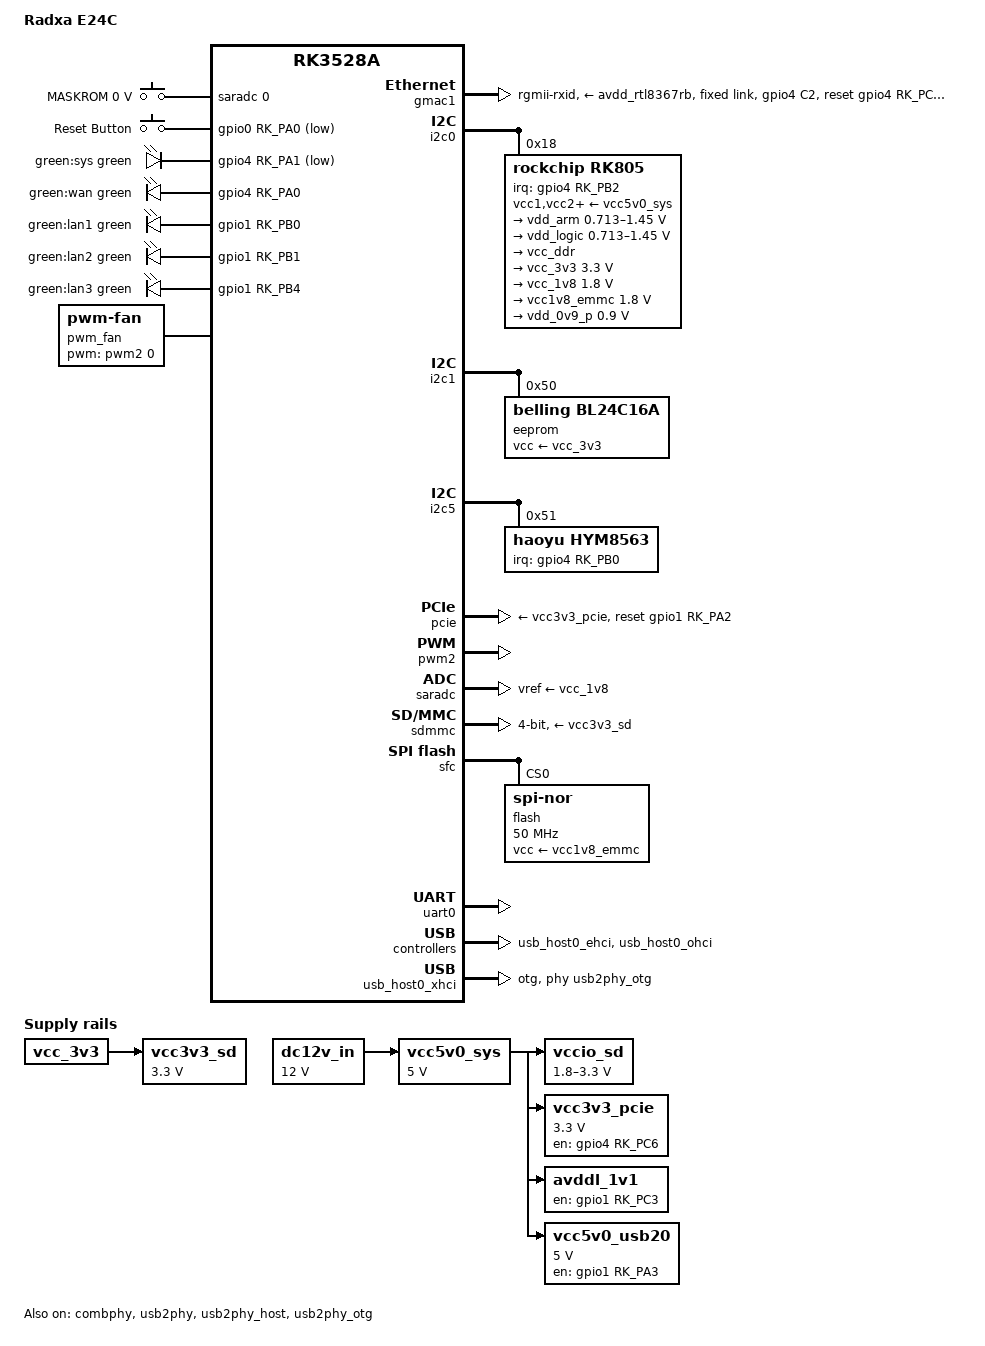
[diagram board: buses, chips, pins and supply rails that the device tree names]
// SPDX-License-Identifier: (GPL-2.0+ OR MIT)
/*
 * Copyright (c) 2022 Rockchip Electronics Co., Ltd.
 * Copyright (c) 2024 Radxa Computer (Shenzhen) Co., Ltd.
 * Copyright (c) 2025 Flippy <flippy@sina.com>
 */

/dts-v1/;

#include <dt-bindings/input/input.h>
#include <dt-bindings/leds/common.h>
#include <dt-bindings/pwm/pwm.h>
#include "rk3528.dtsi"

/ {
	model = "Radxa E24C";
	compatible = "radxa,e24c", "rockchip,rk3528a";

	aliases {
		ethernet0 = &gmac1;
		mmc0 = &sdmmc;
		mmc1 = &sdhci;
		mmc2 = &sdio0;
		rtc0 = &hym8563;
		rtc99 = &rk805;
	};

	adc-keys {
		compatible = "adc-keys";
		io-channels = <&saradc 0>;
		io-channel-names = "buttons";
		keyup-threshold-microvolt = <1800000>;
		poll-interval = <100>;

		button-maskrom {
			label = "MASKROM";
			linux,code = <KEY_SETUP>;
			press-threshold-microvolt = <0>;
		};
	};

	chosen: chosen {
		bootargs = "earlycon=uart8250,mmio32,0xff9f0000 console=ttyS0:1500000";
	};

	gpio_keys: gpio-keys {
		compatible = "gpio-keys";
		pinctrl-names = "default";
		pinctrl-0 = <&key_user>;
		autorepeat;

		button-user {
			label = "Reset Button";
			linux,code = <KEY_RESTART>;
			gpios = <&gpio0 RK_PA0 GPIO_ACTIVE_LOW>;
			debounce-interval = <100>;
		};
	};

	gpio_leds: gpio-leds {
		compatible = "gpio-leds";

		led-sys {
			color = <LED_COLOR_ID_GREEN>;
			default-state = "on";
			function = LED_FUNCTION_HEARTBEAT;
			gpios = <&gpio4 RK_PA1 GPIO_ACTIVE_LOW>;
			label = "green:sys";
			linux,default-trigger = "heartbeat";
			pinctrl-names = "default";
			pinctrl-0 = <&sys_led_g>;
		};

		led-wan {
			color = <LED_COLOR_ID_GREEN>;
			default-state = "off";	
			function = LED_FUNCTION_WAN;
			gpios = <&gpio4 RK_PA0 GPIO_ACTIVE_HIGH>;
			label = "green:wan";
			linux,default-trigger = "netdev";
			pinctrl-names = "default";
			pinctrl-0 = <&wan_led_g>;
		};

		led-lan1 {
			color = <LED_COLOR_ID_GREEN>;
			default-state = "off";	
			function = LED_FUNCTION_LAN;
			gpios = <&gpio1 RK_PB0 GPIO_ACTIVE_HIGH>;
			label = "green:lan1";
			linux,default-trigger = "netdev";
			pinctrl-names = "default";
			pinctrl-0 = <&lan1_led_g>;
		};

		led-lan2 {
			color = <LED_COLOR_ID_GREEN>;
			default-state = "off";	
			function = LED_FUNCTION_LAN;
			gpios = <&gpio1 RK_PB1 GPIO_ACTIVE_HIGH>;
			label = "green:lan2";
			linux,default-trigger = "netdev";
			pinctrl-names = "default";
			pinctrl-0 = <&lan2_led_g>;
		};

		led-lan3 {
			color = <LED_COLOR_ID_GREEN>;
			default-state = "off";	
			function = LED_FUNCTION_LAN;
			gpios = <&gpio1 RK_PB4 GPIO_ACTIVE_HIGH>;
			label = "green:lan3";
			linux,default-trigger = "netdev";
			pinctrl-names = "default";
			pinctrl-0 = <&lan3_led_g>;
		};
	};

	reserved_memory: reserved-memory {
		#address-cells = <2>;
		#size-cells = <2>;
		ranges;

		ramoops: ramoops@110000 {
			compatible = "ramoops";
			/* 0x110000 to 0x1f0000 is for ramoops */
			reg = <0x0 0x110000 0x0 0xe0000>;
			boot-log-size = <0x8000>;	/* do not change */
			boot-log-count = <0x1>;		/* do not change */
			console-size = <0x80000>;
			pmsg-size = <0x30000>;
			ftrace-size = <0x00000>;
			record-size = <0x14000>;
		};
	};

	dc12v_in: regulator-12v-dcin {
		compatible = "regulator-fixed";
		regulator-name = "dc12v-in";
		regulator-always-on;
		regulator-boot-on;
		regulator-min-microvolt = <12000000>;
		regulator-max-microvolt = <12000000>;
	};

	vcc5v0_sys: regulator-5v0-vcc-sys {
		compatible = "regulator-fixed";
		regulator-name = "vcc5v0_sys";
		regulator-always-on;
		regulator-boot-on;
		regulator-min-microvolt = <5000000>;
		regulator-max-microvolt = <5000000>;
		vin-supply = <&dc12v_in>;
	};

	vccio_sd: regulator-vccio-sd {
		compatible = "regulator-gpio";
		gpios = <&gpio4 RK_PB6 GPIO_ACTIVE_HIGH>;
		pinctrl-names = "default";
		pinctrl-0 = <&sdmmc_vol_ctrl_h>;
		regulator-min-microvolt = <1800000>;
		regulator-max-microvolt = <3300000>;
		regulator-name = "vccio_sd";
		states = <1800000 0x0>, <3300000 0x1>;
		vin-supply = <&vcc5v0_sys>;
	};

	vcc3v3_sd: regulator-3v3-vcc-sd {
		compatible = "regulator-fixed";
		regulator-name = "vcc3v3_sd";
		regulator-min-microvolt = <3300000>;
		regulator-max-microvolt = <3300000>;
		vin-supply = <&vcc_3v3>;
	};

	vcc3v3_pcie: regulator-3v3-vcc-pcie {
		compatible = "regulator-fixed";
		enable-active-high;
		gpios = <&gpio4 RK_PC6 GPIO_ACTIVE_HIGH>;
		pinctrl-names = "default";
		pinctrl-0 = <&vcc3v3_pcie_en>;
		regulator-min-microvolt = <3300000>;
		regulator-max-microvolt = <3300000>;
		regulator-name = "vcc3v3_pcie";
		startup-delay-us = <5000>;
		vin-supply = <&vcc5v0_sys>;
	};

	/*
	 * DC-DC: SY8088AAC(3v3) + SY8088AAC(1v1), max 1A
	 * input: vcc_5v0
	 * output: 3v3 to RTL8367RB AVDDH, 1v1 to RTL8367RB AVDDL
	 * enabled by GPIO1_C3
	 */
	avddl_1v1: avddh_3v3: avdd_rtl8367rb: regulator-avdd-rtl8367rb {
		compatible = "regulator-fixed";
		enable-active-high;
		gpios = <&gpio1 RK_PC3 GPIO_ACTIVE_HIGH>;
		pinctrl-names = "default";
		pinctrl-0 = <&rtl8367rb_power_en>;
		regulator-name = "avdd_rtl8367rb";
		startup-delay-us = <10000>;
		vin-supply = <&vcc5v0_sys>;
	};

	vcc5v0_usb20: regulator-5v0-vcc-usb20 {
		compatible = "regulator-fixed";
		enable-active-high;
		gpios = <&gpio1 RK_PA3 GPIO_ACTIVE_HIGH>;
		pinctrl-names = "default";
		pinctrl-0 = <&vcc5v0_usb20_en>;
		regulator-always-on;
		regulator-boot-on;
		regulator-name = "vcc5v0_usb20";
		regulator-min-microvolt = <5000000>;
		regulator-max-microvolt = <5000000>;
		vin-supply = <&vcc5v0_sys>;
	};

	pwm_fan: pwm-fan {
		compatible = "pwm-fan";
		#cooling-cells = <2>;
		cooling-min-state = <0>;
		cooling-max-state = <4>;
		cooling-levels = <0 64 128 192 255>;
		pwms = <&pwm2 0 40000 0>;
	};

	/* RTL8367RB-VB (num:6367 ver:0020) */
	switch0: switch0 {
		compatible = "realtek,rtl8367b";
		realtek,extif = <6 1 0 1 1 1 1 1 1 2>;
		mii-bus = <&mdio1>;
		phy-id = <29>;
	};
};

&combphy {
	status = "okay";
};

&cpu0 {
	cpu-supply = <&vdd_arm>;
};

&cpu1 {
	cpu-supply = <&vdd_arm>;
};

&cpu2 {
	cpu-supply = <&vdd_arm>;
};

&cpu3 {
	cpu-supply = <&vdd_arm>;
};

&gmac1 {
	/delete-property/ snps,tso;

	clock_in_out = "output";
	label = "eth0";
	phy-mode = "rgmii-rxid";
	phy-supply = <&avdd_rtl8367rb>;

	pinctrl-names = "default";
	pinctrl-0 = <&rgmii_miim>, <&rgmii_tx_bus2>, <&rgmii_rx_bus2>,
		    <&rgmii_rgmii_clk>, <&rgmii_rgmii_bus>, <&gmac1_rstn_l>;

	tx_delay = <0x3f>;
	rx_delay = <0x10>;

	snps,reset-active-low;
	/* Reset time is 25ms, 100ms for rtl8367rb */
	snps,reset-delays-us = <0 25000 100000>;
	snps,reset-gpio = <&gpio4 RK_PC2 GPIO_ACTIVE_LOW>;

	status = "okay";

	fixed-link {
		speed = <1000>;
		full-duplex;
		pause;
	};
};

/* PMIC */
&i2c0 {
	pinctrl-names = "default";
	pinctrl-0 = <&i2c0m0_xfer>;
	status = "okay";

	rk805: pmic@18 {
		compatible = "rockchip,rk805";
		reg = <0x18>;
		interrupt-parent = <&gpio4>;
		interrupts = <RK_PB2 IRQ_TYPE_LEVEL_LOW>;
		#clock-cells = <1>;
		clock-output-names = "rk805-clkout1", "rk805-clkout2";
		gpio-controller;
		#gpio-cells = <2>;
		pinctrl-names = "default";
		pinctrl-0 = <&pmic_int_l>;
		system-power-controller;
		wakeup-source;

		vcc1-supply = <&vcc5v0_sys>;
		vcc2-supply = <&vcc5v0_sys>;
		vcc3-supply = <&vcc5v0_sys>;
		vcc4-supply = <&vcc5v0_sys>;
		vcc5-supply = <&vcc5v0_sys>;
		vcc6-supply = <&vcc5v0_sys>;

		regulators {
			vdd_arm: DCDC_REG1 {
				regulator-name = "vdd_arm";
				regulator-always-on;
				regulator-boot-on;
				regulator-min-microvolt = <712500>;
				regulator-max-microvolt = <1450000>;
				regulator-ramp-delay = <12500>;

				regulator-state-mem {
					regulator-on-in-suspend;
				};
			};

			vdd_logic: DCDC_REG2 {
				regulator-name = "vdd_logic";
				regulator-always-on;
				regulator-boot-on;
				regulator-min-microvolt = <712500>;
				regulator-max-microvolt = <1450000>;
				regulator-ramp-delay = <12500>;

				regulator-state-mem {
					regulator-on-in-suspend;
				};
			};

			vcc_ddr: DCDC_REG3 {
				regulator-name = "vcc_ddr";
				regulator-always-on;
				regulator-boot-on;

				regulator-state-mem {
					regulator-on-in-suspend;
				};
			};

			vcc_3v3: DCDC_REG4 {
				regulator-name = "vcc_3v3";
				regulator-always-on;
				regulator-boot-on;
				regulator-min-microvolt = <3300000>;
				regulator-max-microvolt = <3300000>;

				regulator-state-mem {
					regulator-on-in-suspend;
					regulator-suspend-microvolt = <3300000>;
				};
			};

			vcc_1v8: LDO_REG1 {
				regulator-name = "vcc_1v8";
				regulator-always-on;
				regulator-boot-on;
				regulator-min-microvolt = <1800000>;
				regulator-max-microvolt = <1800000>;

				regulator-state-mem {
					regulator-on-in-suspend;
					regulator-suspend-microvolt = <1800000>;
				};
			};

			vcc1v8_emmc: LDO_REG2 {
				regulator-name = "vcc1v8_emmc";
				regulator-always-on;
				regulator-boot-on;
				regulator-min-microvolt = <1800000>;
				regulator-max-microvolt = <1800000>;

				regulator-state-mem {
					regulator-on-in-suspend;
					regulator-suspend-microvolt = <1800000>;
				};
			};

			vdd_0v9_p: LDO_REG3 {
				regulator-name = "vdd_0v9_p";
				regulator-always-on;
				regulator-boot-on;
				regulator-min-microvolt = <900000>;
				regulator-max-microvolt = <900000>;

				regulator-state-mem {
					regulator-on-in-suspend;
					regulator-suspend-microvolt = <900000>;
				};
			};
		};
	};
};

/* EEPROM */
&i2c1 {
	pinctrl-names = "default";
	pinctrl-0 = <&i2c1m0_xfer>;
	status = "okay";

	eeprom:	bl24c16@50 {
		compatible = "belling,bl24c16a", "atmel,24c16";
		reg = <0x50>;
		pagesize = <16>;
		read-only;
		vcc-supply = <&vcc_3v3>;
		status = "okay";
	};
};

/* LCD (option) */
&i2c2 {
	pinctrl-names = "default";
	pinctrl-0 = <&i2c2m1_xfer>;
	status = "disabled";
};

/* RTC */
&i2c5 {
	pinctrl-names = "default";
	pinctrl-0 = <&i2c5m0_xfer>;
	status = "okay";

	hym8563: hym8563@51 {
		compatible = "haoyu,hym8563";
		reg = <0x51>;
		#clock-cells = <0>;
		interrupt-parent = <&gpio4>;
		interrupts = <RK_PB0 IRQ_TYPE_LEVEL_LOW>;
		pinctrl-names = "default";
		pinctrl-0 = <&rtc_int_l>;
		wakeup-source;
	};
};

&pcie {
	reset-gpios = <&gpio1 RK_PA2 GPIO_ACTIVE_HIGH>;
	pinctrl-names = "default";
	pinctrl-0 = <&pciem1_pins>;
	vpcie3v3-supply = <&vcc3v3_pcie>;
	status = "okay";
};

&pinctrl {
	ethernet {
		gmac1_rstn_l: gmac1-rstn-l {
			rockchip,pins = <4 RK_PC2 RK_FUNC_GPIO &pcfg_pull_none>;
		};
	};

	keys {
		key_user: key-user {
			rockchip,pins = <0 RK_PA0 RK_FUNC_GPIO &pcfg_pull_up>;
		};
	};

	leds {
		lan1_led_g: lan1-led-g {
			rockchip,pins = <1 RK_PB0 RK_FUNC_GPIO &pcfg_pull_none>;
		};

		lan2_led_g: lan2-led-g {
			rockchip,pins = <1 RK_PB1 RK_FUNC_GPIO &pcfg_pull_none>;
		};

		lan3_led_g: lan3-led-g {
			rockchip,pins = <1 RK_PB4 RK_FUNC_GPIO &pcfg_pull_none>;
		};

		sys_led_g: sys-led-g {
			rockchip,pins = <4 RK_PA1 RK_FUNC_GPIO &pcfg_pull_none>;
		};

		wan_led_g: wan-led-g {
			rockchip,pins = <4 RK_PA0 RK_FUNC_GPIO &pcfg_pull_none>;
		};
	};

	pmic {
		pmic_int_l: pmic-int-l {
			rockchip,pins = <4 RK_PB2 RK_FUNC_GPIO &pcfg_pull_up>;
		};
	};

	regulators {
		vcc3v3_pcie_en: vcc3v3-pcie-en {
			rockchip,pins = <4 RK_PC6 RK_FUNC_GPIO &pcfg_pull_none>;
		};

		vcc5v0_usb20_en: vcc5v0-usb20-en {
			rockchip,pins = <1 RK_PA3 RK_FUNC_GPIO &pcfg_pull_none>;
		};

		sdmmc_vol_ctrl_h: sdmmc-vol-ctrl-h {
			rockchip,pins = <4 RK_PB6 RK_FUNC_GPIO &pcfg_pull_none>;
		};

		rtl8367rb_power_en: rtl8367rb-power-en {
			rockchip,pins = <1 RK_PC3 RK_FUNC_GPIO &pcfg_pull_none>;
		};
	};

	rtc {
		rtc_int_l: rtc-int-l {
			rockchip,pins = <4 RK_PB0 RK_FUNC_GPIO &pcfg_pull_none>;
		};
	};
};

/* PWM FAN */
&pwm2 {
	pinctrl-names = "default";
	pinctrl-0 = <&pwm2m0_pins>;
	status = "okay";
};

&saradc {
	vref-supply = <&vcc_1v8>;
	status = "okay";
};

/* In the official mass-production version, eMMC is not surface-mounted. */
&sdhci {
	bus-width = <8>;
	cap-mmc-highspeed;
	mmc-hs200-1_8v;
	no-sd;
	no-sdio;
	non-removable;
	vmmc-supply = <&vcc_3v3>;
	vqmmc-supply = <&vcc1v8_emmc>;
	status = "disabled";
};

&sdmmc {
	bus-width = <4>;
	cap-mmc-highspeed;
	cap-sd-highspeed;
	disable-wp;
	sd-uhs-sdr104;
	vmmc-supply = <&vcc3v3_sd>;
	vqmmc-supply = <&vccio_sd>;
	status = "okay";
};

&sfc {
	pinctrl-names = "default";
	pinctrl-0 = <&fspi_csn0>, <&fspi_pins>;
	status = "okay";

	flash@0 {
		compatible = "jedec,spi-nor";
		reg = <0>;
		spi-max-frequency = <50000000>;
		spi-rx-bus-width = <4>;
		spi-tx-bus-width = <1>;
		vcc-supply = <&vcc1v8_emmc>;
	};
};

&usb2phy {
	status = "okay";
};

&usb2phy_host {
	/* Fix ME!
	 * In the schematic, the power supply for USB host supply is actually
	 * controlled by GPIO1_A3, The correct regulator vcc5v0_usb20 has also
	 * been added to the device tree, However, if phy-supply is specified
	 * as vcc5v0_usb20, it will cause kernel panic. Therefore, it is set
	 * to vcc5v0_sys, or this attribute can be omitted.
	 */
	phy-supply = <&vcc5v0_sys>;

	status = "okay";
};

&usb2phy_otg {
	vbus-supply = <&vcc_3v3>;
	status = "okay";
};

&uart0 {
	pinctrl-names = "default";
	pinctrl-0 = <&uart0m0_xfer>;
	status = "okay";
};

&usb_host0_ehci {
	status = "okay";
};

&usb_host0_ohci {
	status = "okay";
};

/*
 * Type-C is powered externally only. In the schematic,
 * the resistor from internal vcc5v0_sys to vbus_5V0 is not connected.
 * Therefore, this port can only work in OTG mode.
 */
&usb_host0_xhci {
	dr_mode = "otg";
	extcon = <&usb2phy>;
	maximum-speed = "high-speed";
	phys = <&usb2phy_otg>;
	phy-names = "usb2-phy";
	snps,dis_u2_susphy_quirk;
	snps,usb2-lpm-disable;
	status = "okay";
};
